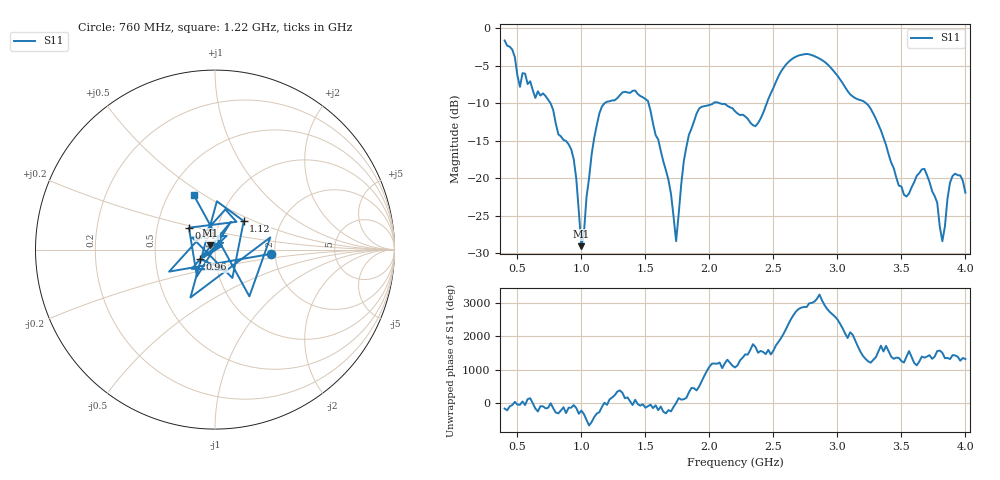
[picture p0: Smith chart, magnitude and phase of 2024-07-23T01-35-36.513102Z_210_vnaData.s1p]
!Created with skrf (http://scikit-rf.org).
# Hz S RI R 50.0
!freq ReS11 ImS11
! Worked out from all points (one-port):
!   181 points, 400 MHz to 4 GHz, reference 50 ohm
!   lowest |S11| = -29.1 dB at 1 GHz (marker M1), VSWR 1.07, Z = 47.5 + j2.34 ohm
!   |S11| at or under -10 dB: 758.4 MHz to 1.182 GHz (423.4 MHz wide, 43.6 % of centre); 1.524 GHz to 2.031 GHz (506.8 MHz wide, 28.5 % of centre); 3.223 GHz to end of sweep (the widest 3 of 4)
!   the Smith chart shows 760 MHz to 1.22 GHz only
!   S11 on the Smith chart (normalised r, x): 760 MHz: 1.91, -0.10; 840 MHz: 0.73, +0.18; 960 MHz: 0.84, -0.09; 1.12 GHz: 1.30, +0.43; 1.22 GHz: 0.67, +0.45
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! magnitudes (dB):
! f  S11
! 400 MHz  -1.6
! 520 MHz  -7.8
! 760 MHz  -10.0
! 840 MHz  -14.4
! 860 MHz  -14.9
! 960 MHz  -20.1
! 1 GHz  -29.1
! 1.12 GHz  -12.9
! 1.22 GHz  -9.7
! 1.3 GHz  -9.0
! 1.52 GHz  -9.7
! 1.68 GHz  -20.2
! 1.74 GHz  -28.4
! 1.76 GHz  -24.8
! 1.82 GHz  -15.9
! 1.92 GHz  -10.7
! 2.2 GHz  -11.1
! 2.36 GHz  -13.1
! 2.66 GHz  -3.9
! 2.88 GHz  -4.3
! 3.1 GHz  -8.8
! 3.26 GHz  -10.7
! 3.56 GHz  -22.0
! 3.68 GHz  -18.8
! 3.78 GHz  -23.3
! 3.82 GHz  -28.4
! 3.9 GHz  -19.7
! 4 GHz  -21.9
